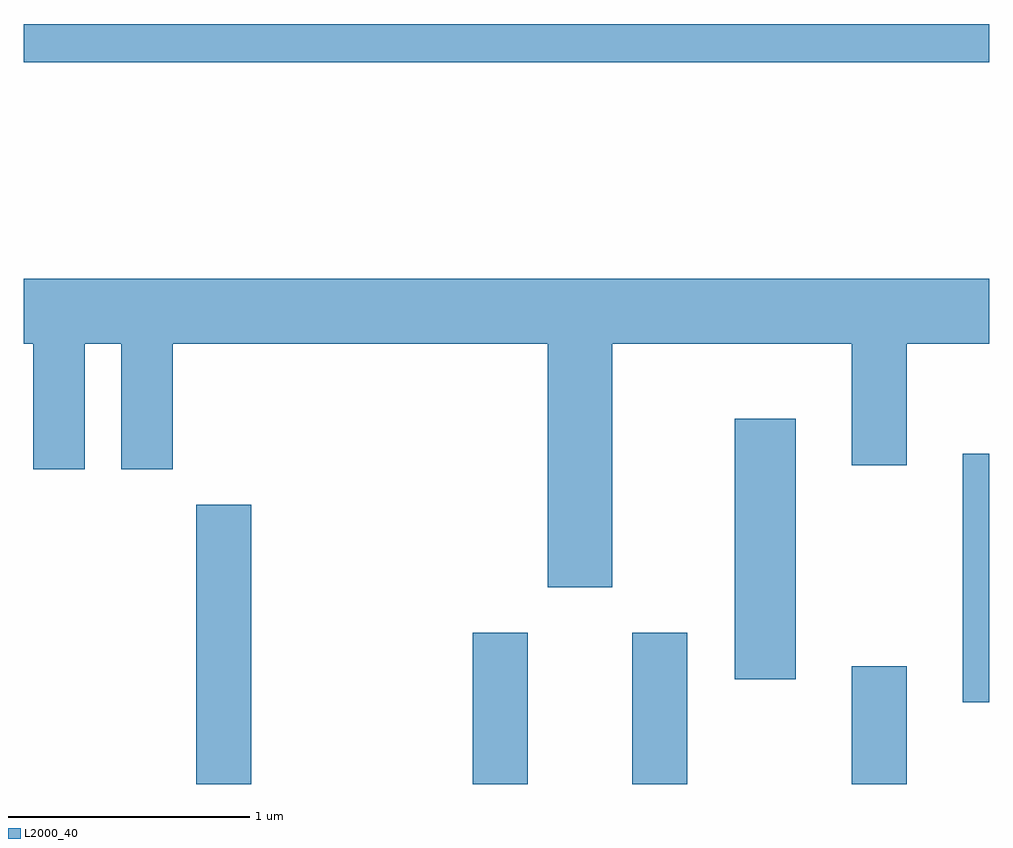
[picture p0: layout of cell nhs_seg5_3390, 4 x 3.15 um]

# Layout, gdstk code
import gdstk
lib = gdstk.Library(unit=1e-6, precision=1e-09)
def R(c, l, rs):  # rectangles x0, y0, x1, y1
    for r in rs: c.add(gdstk.rectangle(r[:2], r[2:], *l))
def P(c, l, *ps):  # polygons
    for p in ps: c.add(gdstk.Polygon(p, *l))
L2000_40 = (2000, 40)

nhs_seg5_3390 = lib.new_cell('nhs_seg5_3390')
R(nhs_seg5_3390, L2000_40, [(286.326,1466.072,286.554,1467.229), (287.471,1466.072,287.699,1466.699), (288.131,1466.072,288.359,1466.699), (289.041,1466.072,289.269,1466.559), (289.501,1466.411,289.611,1467.439), (288.556,1466.506,288.809,1467.584), (285.611,1469.061,289.611,1469.219)])
P(nhs_seg5_3390, L2000_40, [(288.049,1467.896),(289.041,1467.896),(289.041,1467.391),(289.269,1467.391),(289.269,1467.896),(289.611,1467.896),(289.611,1468.164),(285.611,1468.164),(285.611,1467.896),(285.651,1467.896),(285.651,1467.376),(285.864,1467.376),(285.864,1467.896),(286.016,1467.896),(286.016,1467.376),(286.229,1467.376),(286.229,1467.896),(287.781,1467.896),(287.781,1466.886),(288.049,1466.886)])

lib.write_gds('nhs_seg5_3390.gds')
